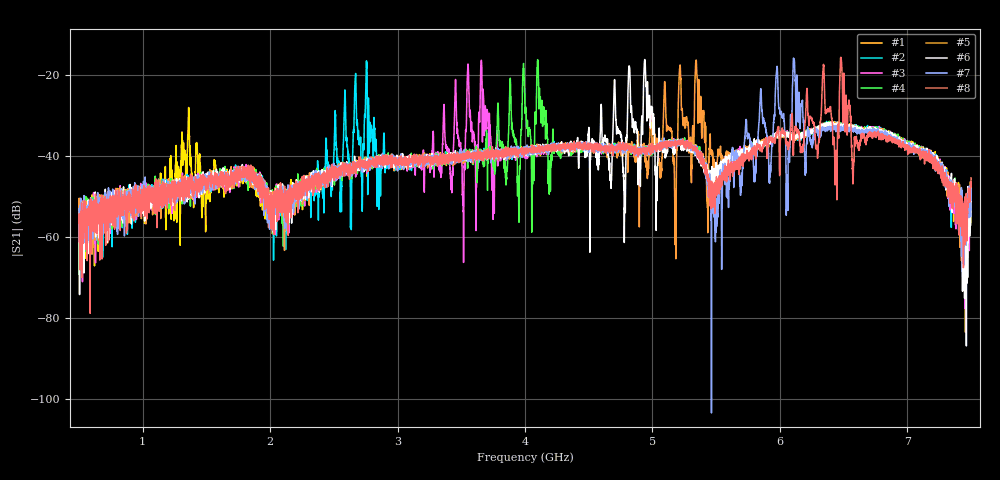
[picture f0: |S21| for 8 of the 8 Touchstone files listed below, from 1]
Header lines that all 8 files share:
!Keysight Technologies,M9374A,MY55442783,A.12.55.05
!Correction: S11(Full 2 Port(1,2))
!S21(Full 2 Port(1,2))
!S12(Full 2 Port(1,2))
!S22(Full 2 Port(1,2))
!S2P File: Measurements: S11, S21, S12, S22:
# Hz S  RI  R 50
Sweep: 500 MHz to 7.5 GHz
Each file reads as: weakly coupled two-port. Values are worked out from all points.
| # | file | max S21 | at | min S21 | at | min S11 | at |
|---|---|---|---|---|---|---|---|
| 1 | BVMSW_Dc06_i0.s2p | -28.06 dB | 1.361 GHz | -83.5 dB | 7.456 GHz | -8.3 dB | 1.364 GHz |
| 2 | BVMSW_Dc06_i1.5.s2p | -16.55 dB | 2.757 GHz | -72.9 dB | 7.446 GHz | -32.9 dB | 2.761 GHz |
| 3 | BVMSW_Dc06_i2.5.s2p | -16.40 dB | 3.657 GHz | -77.7 dB | 7.452 GHz | -28.4 dB | 3.556 GHz |
| 4 | BVMSW_Dc06_i3.s2p | -16.26 dB | 4.099 GHz | -69.2 dB | 501 MHz | -26.6 dB | 3.992 GHz |
| 5 | BVMSW_Dc06_i4.5.s2p | -16.36 dB | 5.343 GHz | -72.3 dB | 7.457 GHz | -22.9 dB | 5.219 GHz |
| 6 | BVMSW_Dc06_i4.s2p | -16.25 dB | 4.94 GHz | -86.8 dB | 7.463 GHz | -23.2 dB | 4.822 GHz |
| 7 | BVMSW_Dc06_i5.5.s2p | -15.87 dB | 6.107 GHz | -103.4 dB | 5.463 GHz | -21.8 dB | 5.982 GHz |
| 8 | BVMSW_Dc06_i6.s2p | -15.67 dB | 6.478 GHz | -78.8 dB | 588 MHz | -23.7 dB | 6.347 GHz |
